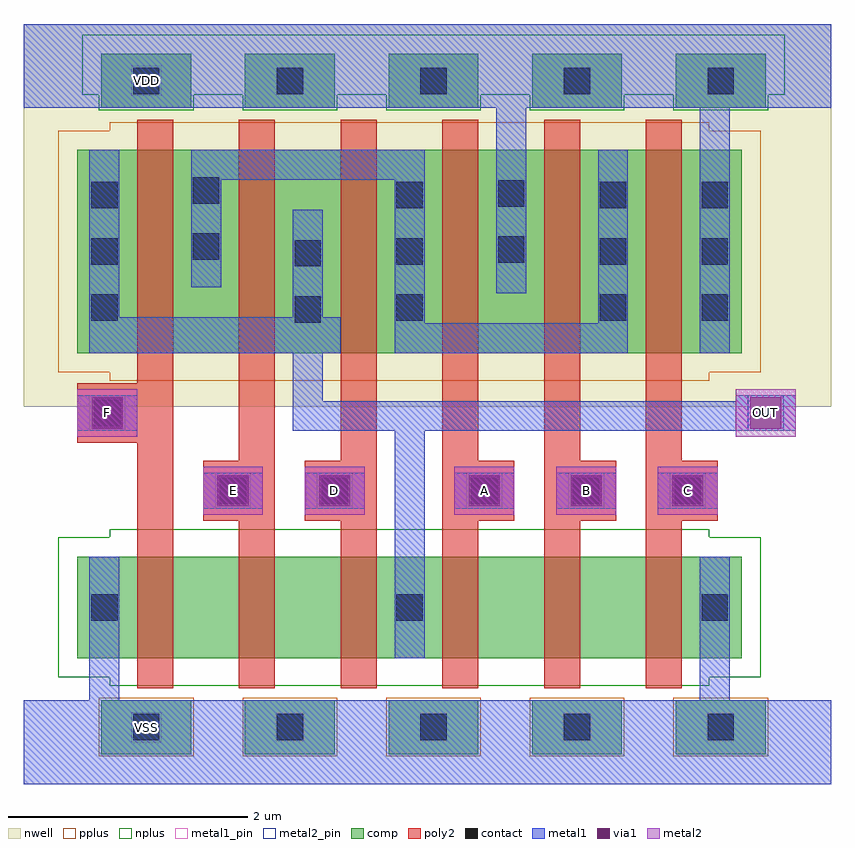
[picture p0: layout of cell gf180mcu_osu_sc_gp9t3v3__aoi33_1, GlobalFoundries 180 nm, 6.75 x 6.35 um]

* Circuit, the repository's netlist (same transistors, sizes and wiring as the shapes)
** sch_path: /foss/designs/AOI33/Pre Layout/Schematic/gf180mcu_osu_sc_gp9t3v3__aoi33_1.sch
.subckt gf180mcu_osu_sc_gp9t3v3__aoi33_1 VDD C B A F E D OUT VSS
*.iopin VSS
*.iopin VDD
*.ipin A
*.ipin D
*.ipin E
*.ipin B
*.ipin C
*.ipin F
*.opin OUT
XM1 OUT A net1 VSS nfet_03v3 L=0.3u W=0.85u nf=1 ad='int((nf+1)/2) * W/nf * 0.18u' as='int((nf+2)/2) * W/nf * 0.18u' pd='2*int((nf+1)/2) * (W/nf + 0.18u)'
+ ps='2*int((nf+2)/2) * (W/nf + 0.18u)' nrd='0.18u / W' nrs='0.18u / W' sa=0 sb=0 sd=0 m=1
XM7 net5 A VDD VDD pfet_03v3 L=0.3u W=1.7u nf=1 ad='int((nf+1)/2) * W/nf * 0.18u' as='int((nf+2)/2) * W/nf * 0.18u' pd='2*int((nf+1)/2) * (W/nf + 0.18u)'
+ ps='2*int((nf+2)/2) * (W/nf + 0.18u)' nrd='0.18u / W' nrs='0.18u / W' sa=0 sb=0 sd=0 m=1
XM8 net5 B VDD VDD pfet_03v3 L=0.3u W=1.7u nf=1 ad='int((nf+1)/2) * W/nf * 0.18u' as='int((nf+2)/2) * W/nf * 0.18u' pd='2*int((nf+1)/2) * (W/nf + 0.18u)'
+ ps='2*int((nf+2)/2) * (W/nf + 0.18u)' nrd='0.18u / W' nrs='0.18u / W' sa=0 sb=0 sd=0 m=1
XM9 net5 C VDD VDD pfet_03v3 L=0.3u W=1.7u nf=1 ad='int((nf+1)/2) * W/nf * 0.18u' as='int((nf+2)/2) * W/nf * 0.18u' pd='2*int((nf+1)/2) * (W/nf + 0.18u)'
+ ps='2*int((nf+2)/2) * (W/nf + 0.18u)' nrd='0.18u / W' nrs='0.18u / W' sa=0 sb=0 sd=0 m=1
XM10 OUT D net5 VDD pfet_03v3 L=0.3u W=1.7u nf=1 ad='int((nf+1)/2) * W/nf * 0.18u' as='int((nf+2)/2) * W/nf * 0.18u' pd='2*int((nf+1)/2) * (W/nf + 0.18u)'
+ ps='2*int((nf+2)/2) * (W/nf + 0.18u)' nrd='0.18u / W' nrs='0.18u / W' sa=0 sb=0 sd=0 m=1
XM11 OUT E net5 VDD pfet_03v3 L=0.3u W=1.7u nf=1 ad='int((nf+1)/2) * W/nf * 0.18u' as='int((nf+2)/2) * W/nf * 0.18u' pd='2*int((nf+1)/2) * (W/nf + 0.18u)'
+ ps='2*int((nf+2)/2) * (W/nf + 0.18u)' nrd='0.18u / W' nrs='0.18u / W' sa=0 sb=0 sd=0 m=1
XM12 OUT F net5 VDD pfet_03v3 L=0.3u W=1.7u nf=1 ad='int((nf+1)/2) * W/nf * 0.18u' as='int((nf+2)/2) * W/nf * 0.18u' pd='2*int((nf+1)/2) * (W/nf + 0.18u)'
+ ps='2*int((nf+2)/2) * (W/nf + 0.18u)' nrd='0.18u / W' nrs='0.18u / W' sa=0 sb=0 sd=0 m=1
XM2 net1 B net2 VSS nfet_03v3 L=0.3u W=0.85u nf=1 ad='int((nf+1)/2) * W/nf * 0.18u' as='int((nf+2)/2) * W/nf * 0.18u' pd='2*int((nf+1)/2) * (W/nf + 0.18u)'
+ ps='2*int((nf+2)/2) * (W/nf + 0.18u)' nrd='0.18u / W' nrs='0.18u / W' sa=0 sb=0 sd=0 m=1
XM3 net2 C VSS VSS nfet_03v3 L=0.3u W=0.85u nf=1 ad='int((nf+1)/2) * W/nf * 0.18u' as='int((nf+2)/2) * W/nf * 0.18u' pd='2*int((nf+1)/2) * (W/nf + 0.18u)'
+ ps='2*int((nf+2)/2) * (W/nf + 0.18u)' nrd='0.18u / W' nrs='0.18u / W' sa=0 sb=0 sd=0 m=1
XM4 net3 F VSS VSS nfet_03v3 L=0.3u W=0.85u nf=1 ad='int((nf+1)/2) * W/nf * 0.18u' as='int((nf+2)/2) * W/nf * 0.18u' pd='2*int((nf+1)/2) * (W/nf + 0.18u)'
+ ps='2*int((nf+2)/2) * (W/nf + 0.18u)' nrd='0.18u / W' nrs='0.18u / W' sa=0 sb=0 sd=0 m=1
XM5 net4 E net3 VSS nfet_03v3 L=0.3u W=0.85u nf=1 ad='int((nf+1)/2) * W/nf * 0.18u' as='int((nf+2)/2) * W/nf * 0.18u' pd='2*int((nf+1)/2) * (W/nf + 0.18u)'
+ ps='2*int((nf+2)/2) * (W/nf + 0.18u)' nrd='0.18u / W' nrs='0.18u / W' sa=0 sb=0 sd=0 m=1
XM6 OUT D net4 VSS nfet_03v3 L=0.3u W=0.85u nf=1 ad='int((nf+1)/2) * W/nf * 0.18u' as='int((nf+2)/2) * W/nf * 0.18u' pd='2*int((nf+1)/2) * (W/nf + 0.18u)'
+ ps='2*int((nf+2)/2) * (W/nf + 0.18u)' nrd='0.18u / W' nrs='0.18u / W' sa=0 sb=0 sd=0 m=1
.ends gf180mcu_osu_sc_gp9t3v3__aoi33_1

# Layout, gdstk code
import gdstk
lib = gdstk.Library(unit=1e-6, precision=1e-09)
def R(c, l, rs):  # rectangles x0, y0, x1, y1
    for r in rs: c.add(gdstk.rectangle(r[:2], r[2:], *l))
def A(c, l, x, y, w, h, nx, ny, dx, dy):  # array of equal rectangles
    R(c, l, [(x+i*dx, y+j*dy, x+i*dx+w, y+j*dy+h) for i in range(nx) for j in range(ny)])
nwell = (21, 0)
comp = (22, 0)
poly2 = (30, 0)
pplus = (31, 0)
nplus = (32, 0)
contact = (33, 0)
metal1 = (34, 0)
metal1_pin = (34, 10)
via1 = (35, 0)
metal2 = (36, 0)
metal2_pin = (36, 10)

gf180mcu_osu_sc_gp9t3v3_ = lib.new_cell('gf180mcu_osu_sc_gp9t3v3__aoi33_1')
R(gf180mcu_osu_sc_gp9t3v3_, nwell, [(5.3,3.15,12.05,6.35)])
A(gf180mcu_osu_sc_gp9t3v3_, comp, 5.95, 0.25, 0.75, 0.45, 5, 2, 1.2, 5.4)
R(gf180mcu_osu_sc_gp9t3v3_, comp, [(5.75,1.05,11.3,1.9), (5.75,3.6,11.3,5.3)])
A(gf180mcu_osu_sc_gp9t3v3_, poly2, 7.1, 0.8, 0.3, 1.4, 5, 1, 0.85, 0)
A(gf180mcu_osu_sc_gp9t3v3_, poly2, 8.8, 2.2, 0.6, 0.5, 3, 1, 0.85, 0)
A(gf180mcu_osu_sc_gp9t3v3_, poly2, 7.1, 2.7, 0.3, 2.85, 5, 1, 0.85, 0)
R(gf180mcu_osu_sc_gp9t3v3_, poly2, [(6.25,0.8,6.55,2.85), (6.8,2.2,7.4,2.7), (7.65,2.2,8.25,2.7), (5.75,2.85,6.55,3.35), (6.25,3.35,6.55,5.55)])
A(gf180mcu_osu_sc_gp9t3v3_, pplus, 5.93, 0.23, 0.79, 0.49, 5, 1, 1.2, 0)
R(gf180mcu_osu_sc_gp9t3v3_, pplus, [(6.02,3.37,11.03,3.44), (5.59,3.44,11.46,5.46), (6.02,5.46,11.03,5.53)])
A(gf180mcu_osu_sc_gp9t3v3_, nplus, 5.93, 5.63, 0.79, 0.13, 5, 1, 1.2, 0)
R(gf180mcu_osu_sc_gp9t3v3_, nplus, [(6.02,0.82,11.03,0.89), (5.59,0.89,11.46,2.06), (6.02,2.06,11.03,2.13), (5.79,5.76,11.66,6.26)])
A(gf180mcu_osu_sc_gp9t3v3_, contact, 6.215, 0.365, 0.22, 0.22, 5, 2, 1.2, 5.4)
A(gf180mcu_osu_sc_gp9t3v3_, contact, 5.865, 1.365, 0.22, 0.22, 3, 1, 2.55, 0)
A(gf180mcu_osu_sc_gp9t3v3_, contact, 9.04, 2.34, 0.22, 0.22, 3, 1, 0.85, 0)
A(gf180mcu_osu_sc_gp9t3v3_, contact, 5.865, 3.87, 0.22, 0.22, 1, 3, 0, 0.47)
A(gf180mcu_osu_sc_gp9t3v3_, contact, 8.415, 3.87, 0.22, 0.22, 1, 3, 0, 0.47)
A(gf180mcu_osu_sc_gp9t3v3_, contact, 10.115, 3.87, 0.22, 0.22, 1, 3, 0, 0.47)
A(gf180mcu_osu_sc_gp9t3v3_, contact, 10.965, 3.87, 0.22, 0.22, 1, 3, 0, 0.47)
R(gf180mcu_osu_sc_gp9t3v3_, contact, [(6.94,2.34,7.16,2.56), (7.79,2.34,8.01,2.56), (5.89,2.99,6.11,3.21), (7.565,3.855,7.785,4.075), (7.565,4.325,7.785,4.545), (9.265,4.355,9.485,4.575), (6.715,4.38,6.935,4.6), (9.265,4.825,9.485,5.045), (6.715,4.85,6.935,5.07)])
A(gf180mcu_osu_sc_gp9t3v3_, metal1, 8.9, 2.3, 0.5, 0.3, 3, 1, 0.85, 0)
R(gf180mcu_osu_sc_gp9t3v3_, metal1, [(5.3,0,12.05,0.7), (5.85,0.7,6.1,1.9), (10.95,0.7,11.2,1.9), (8.4,1.05,8.65,2.95), (6.8,2.3,7.3,2.6), (7.65,2.3,8.15,2.6), (5.75,2.95,6.25,3.25), (7.55,2.95,11.75,3.2), (7.55,3.2,7.8,3.6), (11.25,3.2,11.75,3.25), (5.85,3.6,7.95,3.9), (8.4,3.6,10.35,3.85), (10.95,3.6,11.2,5.65), (8.4,3.85,8.65,5.05), (10.1,3.85,10.35,5.3), (5.85,3.9,6.1,5.3), (7.55,3.9,7.8,4.8), (9.25,4.1,9.5,5.65), (6.7,4.15,6.95,5.05), (6.7,5.05,8.65,5.3), (5.3,5.65,12.05,6.35)])
R(gf180mcu_osu_sc_gp9t3v3_, metal1_pin, [(6.2,0.35,6.45,0.6), (6.2,5.75,6.45,6)])
A(gf180mcu_osu_sc_gp9t3v3_, via1, 9.02, 2.32, 0.26, 0.26, 3, 1, 0.85, 0)
R(gf180mcu_osu_sc_gp9t3v3_, via1, [(6.92,2.32,7.18,2.58), (7.77,2.32,8.03,2.58), (5.87,2.97,6.13,3.23), (11.37,2.97,11.63,3.23)])
A(gf180mcu_osu_sc_gp9t3v3_, metal2, 8.9, 2.25, 0.5, 0.4, 3, 1, 0.85, 0)
R(gf180mcu_osu_sc_gp9t3v3_, metal2, [(6.8,2.25,7.3,2.65), (7.65,2.25,8.15,2.65), (5.75,2.9,6.25,3.3), (11.25,2.9,11.75,3.3)])
A(gf180mcu_osu_sc_gp9t3v3_, metal2_pin, 9, 2.3, 0.3, 0.3, 3, 1, 0.85, 0)
R(gf180mcu_osu_sc_gp9t3v3_, metal2_pin, [(6.9,2.3,7.2,2.6), (7.75,2.3,8.05,2.6), (5.85,2.95,6.15,3.25), (11.35,2.95,11.65,3.25)])
gf180mcu_osu_sc_gp9t3v3_.add(gdstk.Label('VDD', (6.325,5.875), layer=22, texttype=0))
gf180mcu_osu_sc_gp9t3v3_.add(gdstk.Label('C', (10.85,2.45), layer=36, texttype=10))
gf180mcu_osu_sc_gp9t3v3_.add(gdstk.Label('B', (10,2.45), layer=36, texttype=10))
gf180mcu_osu_sc_gp9t3v3_.add(gdstk.Label('A', (9.15,2.45), layer=36, texttype=10))
gf180mcu_osu_sc_gp9t3v3_.add(gdstk.Label('F', (6,3.1), layer=36, texttype=10))
gf180mcu_osu_sc_gp9t3v3_.add(gdstk.Label('E', (7.05,2.45), layer=36, texttype=10))
gf180mcu_osu_sc_gp9t3v3_.add(gdstk.Label('D', (7.9,2.45), layer=36, texttype=10))
gf180mcu_osu_sc_gp9t3v3_.add(gdstk.Label('OUT', (11.5,3.1), layer=34, texttype=10))
gf180mcu_osu_sc_gp9t3v3_.add(gdstk.Label('VSS', (6.325,0.475), layer=22, texttype=0))

lib.write_gds('gf180mcu_osu_sc_gp9t3v3__aoi33_1.gds')
